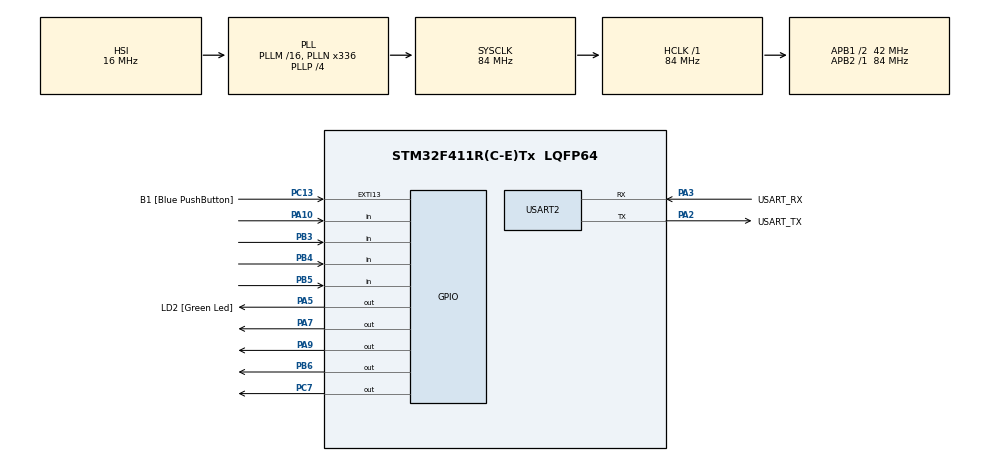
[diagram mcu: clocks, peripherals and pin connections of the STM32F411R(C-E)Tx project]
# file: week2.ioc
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Mcu.Family=STM32F4
Mcu.Name=STM32F411R(C-E)Tx
Mcu.Package=LQFP64
NVIC.PriorityGroup=NVIC_PRIORITYGROUP_0
PA10.GPIO_PuPd=GPIO_PULLUP
PA10.Signal=GPIO_Input
PA13.GPIO_Label=TMS
PA13.Mode=Serial_Wire
PA13.Signal=SYS_JTMS-SWDIO
PA14.GPIO_Label=TCK
PA14.Mode=Serial_Wire
PA14.Signal=SYS_JTCK-SWCLK
PA2.GPIO_Label=USART_TX
PA2.Mode=Asynchronous
PA2.Signal=USART2_TX
PA3.GPIO_Label=USART_RX
PA3.Mode=Asynchronous
PA3.Signal=USART2_RX
PA5.GPIO_Label=LD2 [Green Led]
PA5.Signal=GPIO_Output
PA7.GPIO_ModeDefaultOutputPP=GPIO_MODE_OUTPUT_OD
PA7.PinState=GPIO_PIN_SET
PA7.Signal=GPIO_Output
PA9.GPIO_ModeDefaultOutputPP=GPIO_MODE_OUTPUT_OD
PA9.PinState=GPIO_PIN_SET
PA9.Signal=GPIO_Output
PB3.GPIO_PuPd=GPIO_PULLUP
PB3.Signal=GPIO_Input
PB4.GPIO_PuPd=GPIO_PULLUP
PB4.Signal=GPIO_Input
PB5.GPIO_PuPd=GPIO_PULLUP
PB5.Signal=GPIO_Input
PB6.GPIO_ModeDefaultOutputPP=GPIO_MODE_OUTPUT_OD
PB6.PinState=GPIO_PIN_SET
PB6.Signal=GPIO_Output
PC13-ANTI_TAMP.GPIO_Label=B1 [Blue PushButton]
PC13-ANTI_TAMP.GPIO_ModeDefaultEXTI=GPIO_MODE_IT_FALLING
PC13-ANTI_TAMP.Signal=GPXTI13
PC14-OSC32_IN.Mode=LSE-External-Oscillator
PC14-OSC32_IN.Signal=RCC_OSC32_IN
PC15-OSC32_OUT.Mode=LSE-External-Oscillator
PC15-OSC32_OUT.Signal=RCC_OSC32_OUT
PC7.GPIO_ModeDefaultOutputPP=GPIO_MODE_OUTPUT_OD
PC7.PinState=GPIO_PIN_SET
PC7.Signal=GPIO_Output
PH0\ -\ OSC_IN.Mode=HSE-External-Clock-Source
PH0\ -\ OSC_IN.Signal=RCC_OSC_IN
PH1\ -\ OSC_OUT.Mode=HSE-External-Clock-Source
PH1\ -\ OSC_OUT.Signal=RCC_OSC_OUT
ProjectManager.HeapSize=0x200
ProjectManager.StackSize=0x400
ProjectManager.TargetToolchain=STM32CubeIDE
RCC.48MHZClocksFreq_Value=84000000
RCC.AHBFreq_Value=84000000
RCC.APB1CLKDivider=RCC_HCLK_DIV2
RCC.APB1Freq_Value=42000000
RCC.APB1TimFreq_Value=84000000
RCC.APB2Freq_Value=84000000
RCC.APB2TimFreq_Value=84000000
RCC.CortexFreq_Value=84000000
RCC.FLatency-AdvancedSettings=FLASH_LATENCY_2
RCC.HCLKFreq_Value=84000000
RCC.HSE_VALUE=8000000
RCC.HSI_VALUE=16000000
RCC.PLLN=336
RCC.PLLP=RCC_PLLP_DIV4
RCC.SYSCLKFreq_VALUE=84000000
RCC.SYSCLKSource=RCC_SYSCLKSOURCE_PLLCLK
RCC.VCOOutputFreq_Value=336000000
USART2.VirtualMode=VM_ASYNC
board=NUCLEO-F411RE

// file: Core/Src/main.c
/* USER CODE BEGIN Header */
/**
 ******************************************************************************
 * @file           : main.c
 * @brief          : Main program body
 ******************************************************************************
 * @attention
 *
 * <h2><center>&copy; Copyright (c) 2021 STMicroelectronics.
 * All rights reserved.</center></h2>
 *
 * This software component is licensed by ST under BSD 3-Clause license,
 * the "License"; You may not use this file except in compliance with the
 * License. You may obtain a copy of the License at:
 *                        opensource.org/licenses/BSD-3-Clause
 *
 ******************************************************************************
 */
/* USER CODE END Header */
#include "main.h"

UART_HandleTypeDef huart2;

/* USER CODE BEGIN PV */
uint16_t press = 0;
uint16_t count = 0;
uint16_t temp = 0;
uint16_t BTT = 0;
GPIO_TypeDef *pad[11] = {0,0,0,0,0,0,0,0,0,0,0};
uint16_t A[11] = {6,2,3,4,0,5,0,0,0,5,7};

uint16_t ButtonMatrixState = 0;
uint32_t ButtonMatrixTimestamp = 0;

/* USER CODE END PV */

void SystemClock_Config(void);
static void MX_GPIO_Init(void);
static void MX_USART2_UART_Init(void);
/* USER CODE BEGIN PFP */
void ButtonMatrixUpdate();
/* USER CODE END PFP */

int main(void)
{

  /* MCU Configuration--------------------------------------------------------*/

  /* Reset of all peripherals, Initializes the Flash interface and the Systick. */
  HAL_Init();

  /* Configure the system clock */
  SystemClock_Config();

  /* Initialize all configured peripherals */
  MX_GPIO_Init();
  MX_USART2_UART_Init();

  /* Infinite loop */
	while (1) {

    /* USER CODE BEGIN 3 */

		ButtonMatrixUpdate();
		if (HAL_GetTick() - BTT >= 500) {
			if (ButtonMatrixState == 1) {
				pad[temp] = 7;
				temp += 1;
				BTT = HAL_GetTick();
			}
			if (ButtonMatrixState == 2) {
				pad[temp] = 8;
				temp += 1;
				BTT = HAL_GetTick();
			}
			if (ButtonMatrixState == 4) {
				pad[temp] = 9;
				temp += 1;
				BTT = HAL_GetTick();
			}
			if (ButtonMatrixState == 8) {
				pad[0] = 0;
				pad[1] = 0;
				pad[2] = 0;
				pad[3] = 0;
				pad[4] = 0;
				pad[5] = 0;
				pad[6] = 0;
				pad[7] = 0;
				pad[8] = 0;
				pad[9] = 0;
				pad[10] = 0;
				temp = 0;
				count = 0;
				press = 0;
				HAL_GPIO_WritePin(GPIOA, GPIO_PIN_5, 0);
			}
			if (ButtonMatrixState == 16) {
				pad[temp] = 4;
				temp += 1;
				BTT = HAL_GetTick();
			}
			if (ButtonMatrixState == 32) {
				pad[temp] = 5;
				temp += 1;
				BTT = HAL_GetTick();
			}
			if (ButtonMatrixState == 64) {
				pad[temp] = 6;
				temp += 1;
				BTT = HAL_GetTick();
			}
			if (ButtonMatrixState == 128) {
				pad[temp - 1] = 0;
				press += 1;
				if(temp < 1)
					temp = 0;
				else
					temp -= 1;
				BTT = HAL_GetTick();
			}
			if (ButtonMatrixState == 256) {
				pad[temp] = 1;
				temp += 1;
				BTT = HAL_GetTick();
			}
			if (ButtonMatrixState == 512) {
				pad[temp] = 2;
				temp += 1;
				BTT = HAL_GetTick();
			}
			if (ButtonMatrixState == 1024) {
				pad[temp] = 3;
				temp += 1;
				BTT = HAL_GetTick();
			}
			if (ButtonMatrixState == 4096) {
				pad[temp] = 0;
				temp += 1;
				BTT = HAL_GetTick();
			}
			if (ButtonMatrixState == 32768)
			{
				BTT = HAL_GetTick();
				press += 1;
				if(temp == 11)
					{
					int j;
					for (j = 0; j < 11; ++j)
					{
						if(pad[j] == A[j])
						{
							count += 1;
							if(count == 11 & press == 1)
								{
									HAL_GPIO_WritePin(GPIOA, GPIO_PIN_5, 1);
								}
						}
					}
					}

			}
		}

	}
  /* USER CODE END 3 */
}

void SystemClock_Config(void)
{
  RCC_OscInitTypeDef RCC_OscInitStruct = {0};
  RCC_ClkInitTypeDef RCC_ClkInitStruct = {0};

  /** Configure the main internal regulator output voltage
  */
  __HAL_RCC_PWR_CLK_ENABLE();
  __HAL_PWR_VOLTAGESCALING_CONFIG(PWR_REGULATOR_VOLTAGE_SCALE1);
  /** Initializes the RCC Oscillators according to the specified parameters
  * in the RCC_OscInitTypeDef structure.
  */
  RCC_OscInitStruct.OscillatorType = RCC_OSCILLATORTYPE_HSI;
  RCC_OscInitStruct.HSIState = RCC_HSI_ON;
  RCC_OscInitStruct.HSICalibrationValue = RCC_HSICALIBRATION_DEFAULT;
  RCC_OscInitStruct.PLL.PLLState = RCC_PLL_ON;
  RCC_OscInitStruct.PLL.PLLSource = RCC_PLLSOURCE_HSI;
  RCC_OscInitStruct.PLL.PLLM = 16;
  RCC_OscInitStruct.PLL.PLLN = 336;
  RCC_OscInitStruct.PLL.PLLP = RCC_PLLP_DIV4;
  RCC_OscInitStruct.PLL.PLLQ = 4;
  if (HAL_RCC_OscConfig(&RCC_OscInitStruct) != HAL_OK)
  {
    Error_Handler();
  }
  /** Initializes the CPU, AHB and APB buses clocks
  */
  RCC_ClkInitStruct.ClockType = RCC_CLOCKTYPE_HCLK|RCC_CLOCKTYPE_SYSCLK
                              |RCC_CLOCKTYPE_PCLK1|RCC_CLOCKTYPE_PCLK2;
  RCC_ClkInitStruct.SYSCLKSource = RCC_SYSCLKSOURCE_PLLCLK;
  RCC_ClkInitStruct.AHBCLKDivider = RCC_SYSCLK_DIV1;
  RCC_ClkInitStruct.APB1CLKDivider = RCC_HCLK_DIV2;
  RCC_ClkInitStruct.APB2CLKDivider = RCC_HCLK_DIV1;

  if (HAL_RCC_ClockConfig(&RCC_ClkInitStruct, FLASH_LATENCY_2) != HAL_OK)
  {
    Error_Handler();
  }
}

static void MX_USART2_UART_Init(void)
{

  huart2.Instance = USART2;
  huart2.Init.BaudRate = 115200;
  huart2.Init.WordLength = UART_WORDLENGTH_8B;
  huart2.Init.StopBits = UART_STOPBITS_1;
  huart2.Init.Parity = UART_PARITY_NONE;
  huart2.Init.Mode = UART_MODE_TX_RX;
  huart2.Init.HwFlowCtl = UART_HWCONTROL_NONE;
  huart2.Init.OverSampling = UART_OVERSAMPLING_16;
  if (HAL_UART_Init(&huart2) != HAL_OK)
  {
    Error_Handler();
  }

}

static void MX_GPIO_Init(void)
{
  GPIO_InitTypeDef GPIO_InitStruct = {0};

  /* GPIO Ports Clock Enable */
  __HAL_RCC_GPIOC_CLK_ENABLE();
  __HAL_RCC_GPIOH_CLK_ENABLE();
  __HAL_RCC_GPIOA_CLK_ENABLE();
  __HAL_RCC_GPIOB_CLK_ENABLE();

  /*Configure GPIO pin Output Level */
  HAL_GPIO_WritePin(LD2_GPIO_Port, LD2_Pin, GPIO_PIN_RESET);

  /*Configure GPIO pin Output Level */
  HAL_GPIO_WritePin(GPIOA, GPIO_PIN_7|GPIO_PIN_9, GPIO_PIN_SET);

  /*Configure GPIO pin Output Level */
  HAL_GPIO_WritePin(GPIOC, GPIO_PIN_7, GPIO_PIN_SET);

  /*Configure GPIO pin Output Level */
  HAL_GPIO_WritePin(GPIOB, GPIO_PIN_6, GPIO_PIN_SET);

  /*Configure GPIO pin : B1_Pin */
  GPIO_InitStruct.Pin = B1_Pin;
  GPIO_InitStruct.Mode = GPIO_MODE_IT_FALLING;
  GPIO_InitStruct.Pull = GPIO_NOPULL;
  HAL_GPIO_Init(B1_GPIO_Port, &GPIO_InitStruct);

  /*Configure GPIO pin : LD2_Pin */
  GPIO_InitStruct.Pin = LD2_Pin;
  GPIO_InitStruct.Mode = GPIO_MODE_OUTPUT_PP;
  GPIO_InitStruct.Pull = GPIO_NOPULL;
  GPIO_InitStruct.Speed = GPIO_SPEED_FREQ_LOW;
  HAL_GPIO_Init(LD2_GPIO_Port, &GPIO_InitStruct);

  /*Configure GPIO pins : PA7 PA9 */
  GPIO_InitStruct.Pin = GPIO_PIN_7|GPIO_PIN_9;
  GPIO_InitStruct.Mode = GPIO_MODE_OUTPUT_OD;
  GPIO_InitStruct.Pull = GPIO_NOPULL;
  GPIO_InitStruct.Speed = GPIO_SPEED_FREQ_LOW;
  HAL_GPIO_Init(GPIOA, &GPIO_InitStruct);

  /*Configure GPIO pin : PC7 */
  GPIO_InitStruct.Pin = GPIO_PIN_7;
  GPIO_InitStruct.Mode = GPIO_MODE_OUTPUT_OD;
  GPIO_InitStruct.Pull = GPIO_NOPULL;
  GPIO_InitStruct.Speed = GPIO_SPEED_FREQ_LOW;
  HAL_GPIO_Init(GPIOC, &GPIO_InitStruct);

  /*Configure GPIO pin : PA10 */
  GPIO_InitStruct.Pin = GPIO_PIN_10;
  GPIO_InitStruct.Mode = GPIO_MODE_INPUT;
  GPIO_InitStruct.Pull = GPIO_PULLUP;
  HAL_GPIO_Init(GPIOA, &GPIO_InitStruct);

  /*Configure GPIO pins : PB3 PB4 PB5 */
  GPIO_InitStruct.Pin = GPIO_PIN_3|GPIO_PIN_4|GPIO_PIN_5;
  GPIO_InitStruct.Mode = GPIO_MODE_INPUT;
  GPIO_InitStruct.Pull = GPIO_PULLUP;
  HAL_GPIO_Init(GPIOB, &GPIO_InitStruct);

  /*Configure GPIO pin : PB6 */
  GPIO_InitStruct.Pin = GPIO_PIN_6;
  GPIO_InitStruct.Mode = GPIO_MODE_OUTPUT_OD;
  GPIO_InitStruct.Pull = GPIO_NOPULL;
  GPIO_InitStruct.Speed = GPIO_SPEED_FREQ_LOW;
  HAL_GPIO_Init(GPIOB, &GPIO_InitStruct);

}

/* USER CODE BEGIN 4 */
GPIO_TypeDef *ButtonMatrixPort[8] = { GPIOA, GPIOB, GPIOB, GPIOB, GPIOA, GPIOC,
GPIOB, GPIOA };
uint16_t ButtonMatrixPin[8] = { GPIO_PIN_10, GPIO_PIN_3, GPIO_PIN_5, GPIO_PIN_4,
GPIO_PIN_9, GPIO_PIN_7, GPIO_PIN_6, GPIO_PIN_7 };
uint8_t ButtonMatrixRow = 0;

void ButtonMatrixUpdate() {

	if (HAL_GetTick() - ButtonMatrixTimestamp >= 50) {
		ButtonMatrixTimestamp = HAL_GetTick();
		int i;
		for (i = 0; i < 4; ++i) {
			GPIO_PinState Pinstate = HAL_GPIO_ReadPin(ButtonMatrixPort[i],
					ButtonMatrixPin[i]);
			if (Pinstate == GPIO_PIN_RESET) {
				ButtonMatrixState |= (uint16_t) 0x1
						<< (i + ButtonMatrixRow * 4);
			} else {
				ButtonMatrixState &= ~((uint16_t) 0x1
						<< (i + ButtonMatrixRow * 4));
			}
		}
		uint8_t NowOutputPin = ButtonMatrixRow + 4;
		HAL_GPIO_WritePin(ButtonMatrixPort[NowOutputPin],
				ButtonMatrixPin[NowOutputPin], GPIO_PIN_SET);
		ButtonMatrixRow = (ButtonMatrixRow + 1) % 4;

		uint8_t NextOutputPin = ButtonMatrixRow + 4;
		HAL_GPIO_WritePin(ButtonMatrixPort[NextOutputPin],
				ButtonMatrixPin[NextOutputPin], GPIO_PIN_RESET);

	}
}
/* USER CODE END 4 */

void Error_Handler(void)
{
	__disable_irq();
	while (1) {
	}
}

/************************ (C) COPYRIGHT STMicroelectronics *****END OF FILE****/
